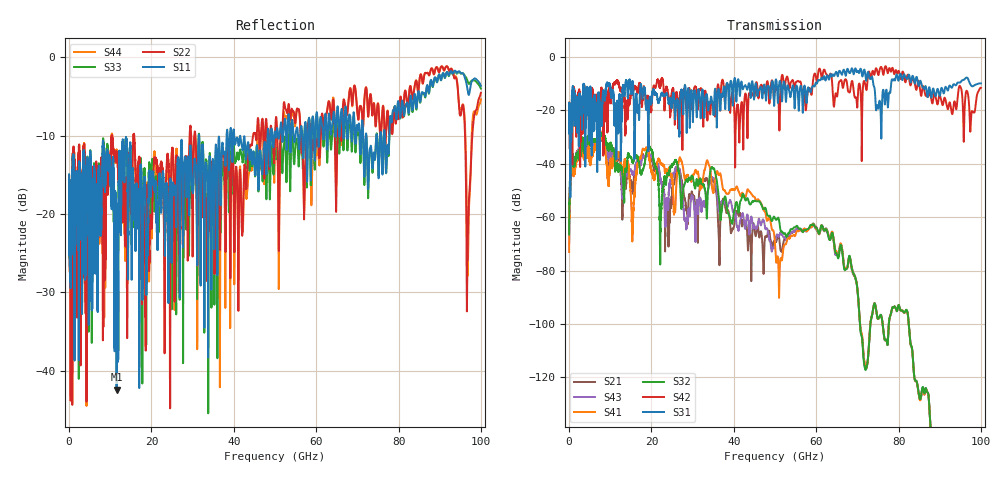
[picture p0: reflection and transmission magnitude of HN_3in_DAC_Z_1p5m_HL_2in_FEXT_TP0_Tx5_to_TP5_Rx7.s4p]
# GHz S RI R 45
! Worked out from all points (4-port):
!   4000 points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, 25 MHz to 100 GHz, reference 45 ohm
!   strongest paths, dB at 25 MHz, 25.02 GHz, 50.02 GHz, 75.03 GHz, 100 GHz:
!     S31: -17.2, -17.4, -10.7, -19.3, -9.9
!     S42: -17.1, -12.8, -11.9, -6.5, -11.5
!     S32: -66.4, -40.8, -60.4, -98.1, -
!     S41: -73.0, -45.0, -70.1, -98.1, -
!     S43: -69.3, -46.1, -69.4, -98.1, -
!     S21: -69.7, -51.6, -69.2, -98.1, -
!   lowest |S11| = -42.4 dB at 11.55 GHz (marker M1), VSWR 1.02, Z = 45.5 + j0.475 ohm
!   |S11| at or under -10 dB: start of sweep to 31.51 GHz; 31.61 GHz to 38.26 GHz (6.655 GHz wide, 19 % of centre); 40.11 GHz to 48.2 GHz (8.09 GHz wide, 18.3 % of centre)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
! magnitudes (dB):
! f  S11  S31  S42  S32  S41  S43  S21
! 25 MHz  -15.0  -17.2  -17.1  -66.4  -73.0  -69.3  -69.7
! 2.875 GHz  -15.9  -15.4  -26.0  -36.0  -35.7  -35.4  -35.3
! 11.55 GHz  -42.4  -25.3  -9.0  -41.3  -37.5  -37.2  -39.1
! 15.45 GHz  -14.6  -9.0  -13.3  -39.7  -64.5  -44.2  -51.2
! 33.73 GHz  -24.7  -18.6  -20.6  -50.3  -39.3  -49.8  -47.0
! 50.75 GHz  -9.9  -16.9  -13.2  -60.1  -75.6  -67.1  -66.8
! 100 GHz  -3.6  -9.9  -11.5  -  -  -  -
